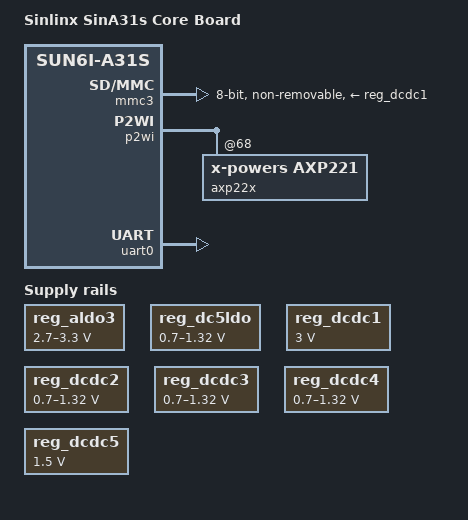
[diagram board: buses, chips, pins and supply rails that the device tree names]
/*
 * Copyright 2015 Chen-Yu Tsai <wens@csie.org>
 *
 * This file is dual-licensed: you can use it either under the terms
 * of the GPL or the X11 license, at your option. Note that this dual
 * licensing only applies to this file, and not this project as a
 * whole.
 *
 *  a) This file is free software; you can redistribute it and/or
 *     modify it under the terms of the GNU General Public License as
 *     published by the Free Software Foundation; either version 2 of the
 *     License, or (at your option) any later version.
 *
 *     This file is distributed in the hope that it will be useful,
 *     but WITHOUT ANY WARRANTY; without even the implied warranty of
 *     MERCHANTABILITY or FITNESS FOR A PARTICULAR PURPOSE.  See the
 *     GNU General Public License for more details.
 *
 * Or, alternatively,
 *
 *  b) Permission is hereby granted, free of charge, to any person
 *     obtaining a copy of this software and associated documentation
 *     files (the "Software"), to deal in the Software without
 *     restriction, including without limitation the rights to use,
 *     copy, modify, merge, publish, distribute, sublicense, and/or
 *     sell copies of the Software, and to permit persons to whom the
 *     Software is furnished to do so, subject to the following
 *     conditions:
 *
 *     The above copyright notice and this permission notice shall be
 *     included in all copies or substantial portions of the Software.
 *
 *     THE SOFTWARE IS PROVIDED "AS IS", WITHOUT WARRANTY OF ANY KIND,
 *     EXPRESS OR IMPLIED, INCLUDING BUT NOT LIMITED TO THE WARRANTIES
 *     OF MERCHANTABILITY, FITNESS FOR A PARTICULAR PURPOSE AND
 *     NONINFRINGEMENT. IN NO EVENT SHALL THE AUTHORS OR COPYRIGHT
 *     HOLDERS BE LIABLE FOR ANY CLAIM, DAMAGES OR OTHER LIABILITY,
 *     WHETHER IN AN ACTION OF CONTRACT, TORT OR OTHERWISE, ARISING
 *     FROM, OUT OF OR IN CONNECTION WITH THE SOFTWARE OR THE USE OR
 *     OTHER DEALINGS IN THE SOFTWARE.
 */

/dts-v1/;
#include "sun6i-a31s.dtsi"
#include "sunxi-common-regulators.dtsi"

#include <dt-bindings/gpio/gpio.h>

/ {
	model = "Sinlinx SinA31s Core Board";
	compatible = "sinlinx,sina31s", "allwinner,sun6i-a31s";

	aliases {
		serial0 = &uart0;
	};
};

&cpu0 {
	cpu-supply = <&reg_dcdc3>;
};

/* eMMC on core board */
&mmc3 {
	pinctrl-names = "default";
	pinctrl-0 = <&mmc3_8bit_emmc_pins>;
	vmmc-supply = <&reg_dcdc1>;
	vqmmc-supply = <&reg_dcdc1>;
	bus-width = <8>;
	non-removable;
	cap-mmc-hw-reset;
	status = "okay";
};

/* AXP221s PMIC on core board */
&p2wi {
	status = "okay";

	axp22x: pmic@68 {
		compatible = "x-powers,axp221";
		reg = <0x68>;
		interrupt-parent = <&nmi_intc>;
		interrupts = <0 IRQ_TYPE_LEVEL_LOW>;
	};
};

#include "axp22x.dtsi"

&reg_aldo3 {
	regulator-always-on;
	regulator-min-microvolt = <2700000>;
	regulator-max-microvolt = <3300000>;
	regulator-name = "avcc";
};

&reg_dc5ldo {
	regulator-min-microvolt = <700000>;
	regulator-max-microvolt = <1320000>;
	regulator-name = "vdd-cpus";
};

&reg_dcdc1 {
	regulator-always-on;
	regulator-min-microvolt = <3000000>;
	regulator-max-microvolt = <3000000>;
	regulator-name = "vcc-3v0";
};

&reg_dcdc2 {
	regulator-min-microvolt = <700000>;
	regulator-max-microvolt = <1320000>;
	regulator-name = "vdd-gpu";
};

&reg_dcdc3 {
	regulator-always-on;
	regulator-min-microvolt = <700000>;
	regulator-max-microvolt = <1320000>;
	regulator-name = "vdd-cpu";
};

&reg_dcdc4 {
	regulator-always-on;
	regulator-min-microvolt = <700000>;
	regulator-max-microvolt = <1320000>;
	regulator-name = "vdd-sys-dll";
};

&reg_dcdc5 {
	regulator-always-on;
	regulator-min-microvolt = <1500000>;
	regulator-max-microvolt = <1500000>;
	regulator-name = "vcc-dram";
};

/* UART0 pads available on core board */
&uart0 {
	pinctrl-names = "default";
	pinctrl-0 = <&uart0_ph_pins>;
	status = "okay";
};

